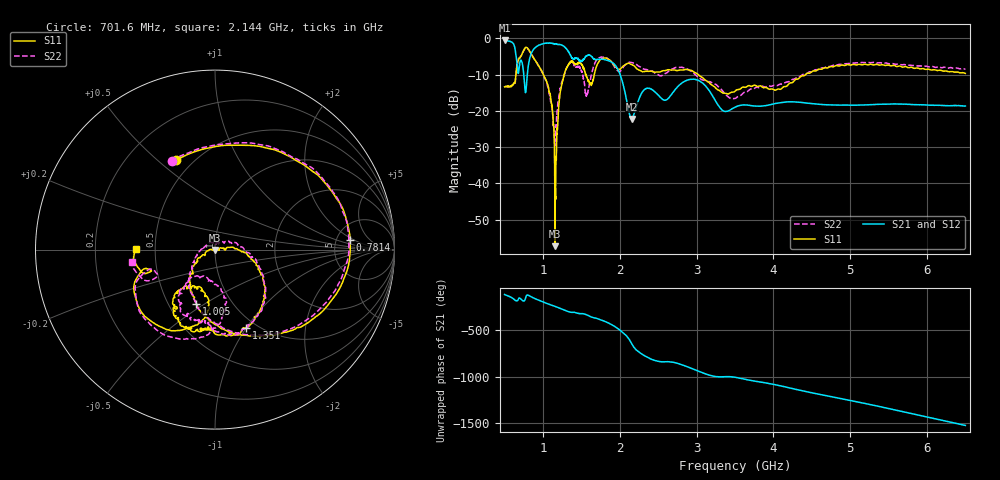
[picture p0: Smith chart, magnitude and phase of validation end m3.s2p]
# Hz S DB R 50
! CMT, S5065, 24347010, 24.3.4/3
! Date: 10/16/2024 1:06:23 AM
! Data: Format (Calibration Info)
! Freq	S11:dB/Ang(F2)	S21:dB/Ang(F2)	S12:dB/Ang(F2)	S22:dB/Ang(F2)
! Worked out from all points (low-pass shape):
!   10001 points, 500 MHz to 6.5 GHz, reference 50 ohm
!   highest |S21| = -0.54 dB at 500 MHz (marker M1); lowest = -22.2 dB at 2.158 GHz (marker M2)
!   |S21| within 3 dB of the highest: start of sweep to 640.3 MHz; 861 MHz to 1.327 GHz (466.1 MHz wide, 42.6 % of centre)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
!   lowest |S11| = -57.3 dB at 1.158 GHz (marker M3), VSWR 1.00, Z = 50 - j0.136 ohm
!   |S11| at or under -10 dB: start of sweep to 645.8 MHz; 1.006 GHz to 1.275 GHz (269.3 MHz wide, 23.6 % of centre); 3.023 GHz to 4.417 GHz (1.394 GHz wide, 37.5 % of centre)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
!   |S22| runs from -29.7 to -2.5 dB; largest |S21 - S12| = 0.0034
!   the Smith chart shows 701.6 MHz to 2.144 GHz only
!   S11 on the Smith chart (normalised r, x): 701.6 MHz: 0.41, +0.57; 781.4 MHz: 6.72, +1.75; 1.005 GHz: 0.69, -0.46; 1.351 GHz: 0.89, -0.99; 2.144 GHz: 0.39, +0.00
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5e8  -13.34 -30.6  -0.54 -123.2  -0.54 -123.2  -13.37 -33.0
6.416e8  -10.95 -99.0  -3.79 171.6  -3.79 171.6  -11.48 -107.3
7.016e8  -5.29 113.7  -6.41 -164.1  -6.41 -164.1  -5.18 115.9
7.814e8  -2.43 4.2  -13.69 -139.3  -13.67 -139.2  -2.51 8.1
8.582e8  -4.66 -54.6  -3.65 -152.3  -3.63 -152.4  -4.64 -51.9
1.0046e9  -9.94 -109.0  -1.42 156.4  -1.41 156.4  -10.07 -110.3
1.0988e9  -16.34 -142.5  -1.31 127.0  -1.30 127.0  -17.35 -148.2
1.1582e9  -57.34 -93.7  -1.50 109.7  -1.49 109.6  -27.93 70.2
1.2356e9  -13.71 -14.5  -1.79 85.6  -1.78 85.6  -12.99 -13.0
1.3514e9  -6.60 -68.5  -4.42 49.0  -4.41 49.1  -6.76 -66.3
1.5002e9  -7.19 -118.0  -6.19 32.8  -6.18 32.8  -8.98 -122.1
1.6352e9  -12.33 -108.8  -5.03 -5.2  -5.03 -5.1  -9.46 -80.1
1.874e9  -6.02 -154.8  -6.33 -75.9  -6.31 -75.9  -6.11 -154.1
2.003e9  -8.47 -161.2  -9.88 -144.0  -9.88 -144.1  -9.09 -155.5
2.144e9  -7.12 179.8  -22.01 87.8  -22.01 87.8  -6.60 -171.8
2.1578e9  -7.25 176.9  -22.20 66.4  -22.20 66.3  -6.66 -175.0
2.5004e9  -9.27 158.9  -15.63 -116.7  -15.64 -117.0  -10.00 155.1
2.9762e9  -9.38 111.7  -11.28 154.0  -11.26 153.4  -9.88 109.8
3.5e9  -14.59 112.4  -18.97 73.4  -18.98 72.7  -16.57 109.6
4.5002e9  -9.17 90.6  -17.97 -92.9  -18.00 -93.9  -9.18 91.7
5.5004e9  -7.35 11.2  -18.11 99.1  -18.15 98.3  -6.98 10.1
6.5e9  -9.63 -65.2  -18.63 -81.8  -18.69 -80.9  -8.48 -66.0
